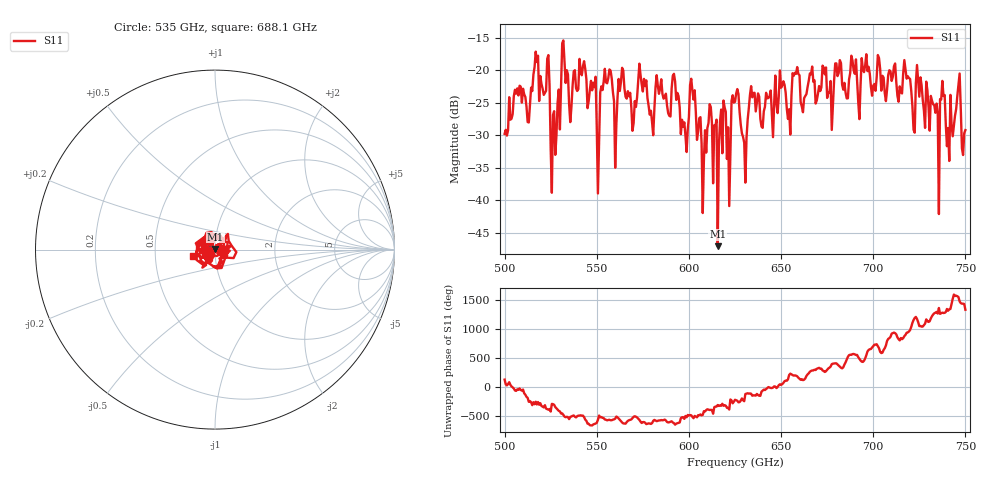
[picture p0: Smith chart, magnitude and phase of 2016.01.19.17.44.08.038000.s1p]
!Created with skrf (http://scikit-rf.org).
# GHz S RI R 50.0
!freq ReS11 ImS11
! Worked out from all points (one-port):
!   401 points, 500 GHz to 750 GHz, reference 50 ohm
!   lowest |S11| = -47.1 dB at 615.6 GHz (marker M1), VSWR 1.01, Z = 50.2 + j0.372 ohm
!   |S11| at or under -10 dB: start of sweep to end of sweep
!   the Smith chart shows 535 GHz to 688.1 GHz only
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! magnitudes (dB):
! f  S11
! 500 GHz  -29.8
! 506.9 GHz  -22.8
! 513.1 GHz  -28.0
! 516.9 GHz  -17.1
! 523.1 GHz  -18.2
! 526.2 GHz  -26.9
! 531.2 GHz  -15.8
! 548.1 GHz  -21.9
! 551.2 GHz  -31.1
! 553.1 GHz  -23.0
! 560 GHz  -35.0
! 562.5 GHz  -23.2
! 570 GHz  -28.1
! 574.4 GHz  -22.1
! 580 GHz  -28.0
! 593.8 GHz  -23.5
! 615.6 GHz  -47.1
! 618.8 GHz  -24.6
! 621.9 GHz  -40.9
! 625 GHz  -24.8
! 630 GHz  -31.1
! 634.4 GHz  -24.1
! 656.2 GHz  -20.4
! 687.5 GHz  -20.4
! 718.8 GHz  -20.9
! 734.4 GHz  -25.1
! 746.2 GHz  -22.2
! 750 GHz  -29.2
